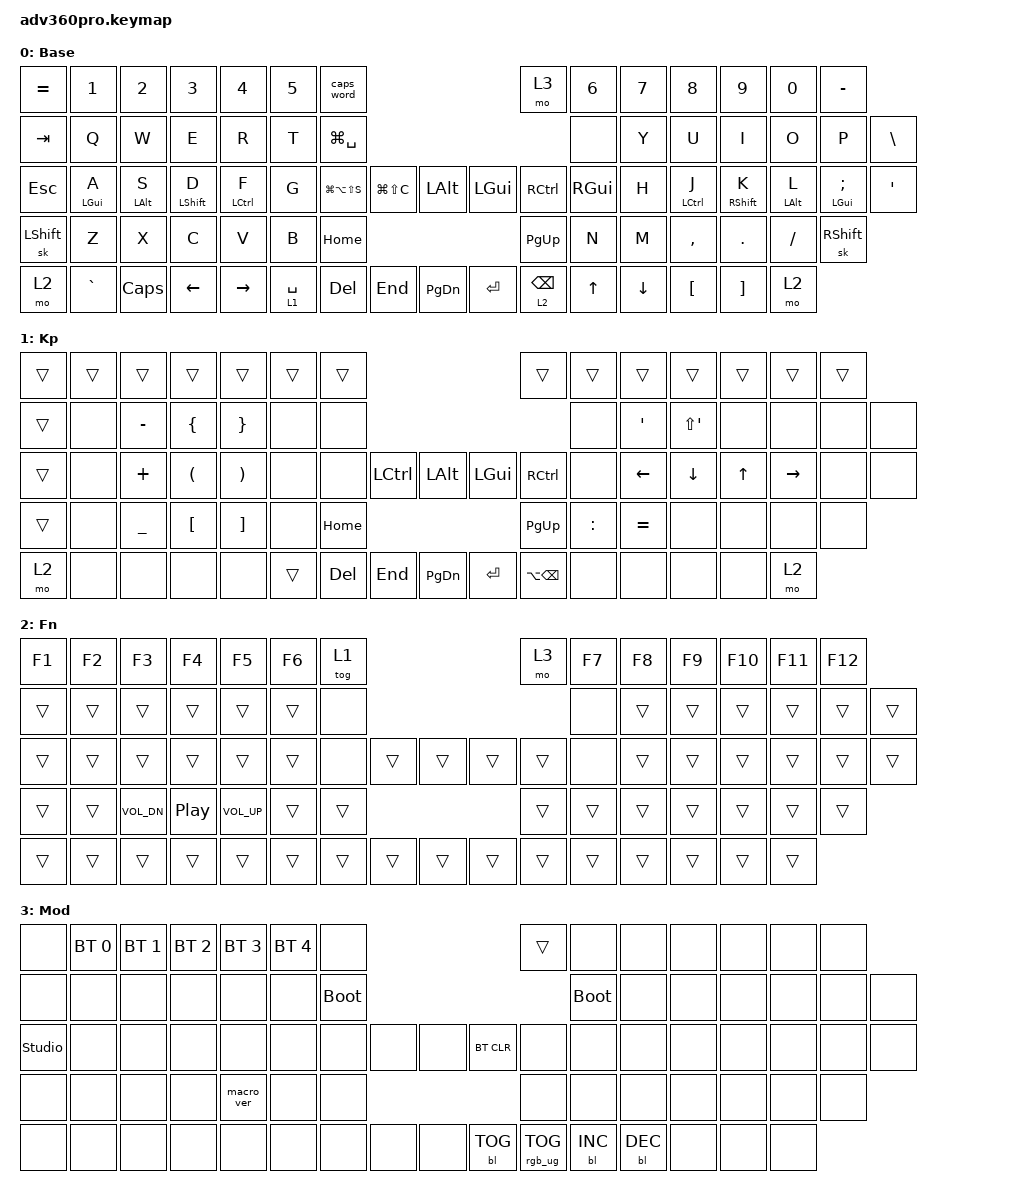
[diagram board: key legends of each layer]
#include <behaviors.dtsi>
#include <dt-bindings/zmk/keys.h>
#include <dt-bindings/zmk/bt.h>
#include <dt-bindings/zmk/rgb.h>
#include <dt-bindings/zmk/backlight.h>
#include <dt-bindings/zmk/pointing.h>

/* Key positions (see assets/key-positions.md), used for positional hold-tap. */
#define KEYS_L  0  1  2  3  4  5  6 \
               14 15 16 17 18 19 20 \
               28 29 30 31 32 33 34 \
               46 47 48 49 50 51    \
               60 61 62 63 64

#define KEYS_R  7  8  9 10 11 12 13 \
               21 22 23 24 25 26 27 \
               39 40 41 42 43 44 45 \
                  54 55 56 57 58 59 \
                     71 72 73 74 75

#define THUMBS 35 36 52 65 66 67 \
               37 38 53 68 69 70

/*
 * Global defaults for ZMK's built-in layer-tap (&lt) and mod-tap (&mt)
 * behaviors, copied from the TOTEM keyboard config.
 */
&lt {
  flavor = "balanced";
  tapping-term-ms = <200>;
  quick-tap-ms = <140>;
};

// Trigger tap-action on all interrupts.
&mt {
  flavor = "tap-preferred";
  tapping-term-ms = <220>;
  quick-tap-ms = <220>;
  hold-trigger-key-positions = <0>;
};

/*
 * Sticky keys (&sk), also from the TOTEM config: a tapped sticky Shift applies
 * to the next key only, and is dropped if no key follows within 900 ms.
 */
&sk {
  release-after-ms = <900>;
  quick-release;
};

/ {
    behaviors {
      #include "macros.dtsi"
      #include "version.dtsi"

      /*
       * Timeless homerow mods, following urob's zmk-config:
       * https://github.com/urob/zmk-config#timeless-homerow-mods
       *
       * - "balanced" flavor: a hold is produced as soon as another key is
       *   pressed and released within the tapping term;
       * - require-prior-idle-ms: pressing an HRM shortly after another key
       *   resolves it as a tap right away, so normal typing is not delayed;
       * - hold-trigger-key-positions: an HRM only becomes a modifier when the
       *   next key is on the other hand (or a thumb key);
       * - hold-trigger-on-release: the positional check happens on release so
       *   several modifiers on the same hand can be combined.
       */
      hml: homerow_mods_left {
          compatible = "zmk,behavior-hold-tap";
          #binding-cells = <2>;
          flavor = "balanced";
          tapping-term-ms = <280>;
          quick-tap-ms = <175>;
          require-prior-idle-ms = <150>;
          bindings = <&kp>, <&kp>;
          hold-trigger-key-positions = <KEYS_R THUMBS>;
          hold-trigger-on-release;
      };

      hmr: homerow_mods_right {
          compatible = "zmk,behavior-hold-tap";
          #binding-cells = <2>;
          flavor = "balanced";
          tapping-term-ms = <280>;
          quick-tap-ms = <175>;
          require-prior-idle-ms = <150>;
          bindings = <&kp>, <&kp>;
          hold-trigger-key-positions = <KEYS_L THUMBS>;
          hold-trigger-on-release;
      };
    };

  /*
   * Combos, following the TOTEM config: short timeout so they only fire when
   * both keys go down together, and require-prior-idle-ms so rolling "jk" or
   * "kl" while typing does not trigger them. Key positions: J=41 K=42 L=43.
   */
  combos {
    compatible = "zmk,combos";

    // J + K -> Cmd+Shift+[ (previous tab on macOS)
    combo_prev_tab {
      timeout-ms = <18>;
      require-prior-idle-ms = <150>;
      key-positions = <41 42>;
      bindings = <&kp LG(LS(LBKT))>;
      layers = <0>;
    };

    // K + L -> Cmd+Shift+] (next tab on macOS)
    combo_next_tab {
      timeout-ms = <18>;
      require-prior-idle-ms = <150>;
      key-positions = <42 43>;
      bindings = <&kp LG(LS(RBKT))>;
      layers = <0>;
    };
  };

  keymap {
    compatible = "zmk,keymap";

    default_layer {
      display-name = "Base";
      bindings = <
        &kp EQUAL &kp N1      &kp N2      &kp N3       &kp N4       &kp N5 &caps_word                                                             &mo 3 &kp N6 &kp N7       &kp N8       &kp N9      &kp N0         &kp MINUS
        &kp TAB   &kp Q       &kp W       &kp E        &kp R        &kp T  &kp LG(SPACE)                                                              &none &kp Y  &kp U        &kp I        &kp O       &kp P          &kp BSLH
        &kp ESC   &hml LGUI A &hml LALT S &hml LSHFT D &hml LCTRL F &kp G  &kp LG(LA(LS(S)))           &kp LG(LS(C)) &kp LALT &kp LGUI  &kp RCTRL             &kp RGUI &kp H  &hmr LCTRL J &hmr RSHFT K &hmr LALT L &hmr LGUI SEMI &kp SQT
        &sk LSHFT &kp Z       &kp X       &kp C        &kp V        &kp B                            &kp HOME &kp PG_UP                             &kp N  &kp M        &kp COMMA    &kp DOT     &kp FSLH       &sk RSHFT
        &mo 2     &kp GRAVE   &kp CAPS    &kp LEFT     &kp RIGHT                  &lt 1 SPACE &kp DEL &kp END &kp PG_DN &kp ENTER &lt 2 BSPC               &kp UP       &kp DOWN     &kp LBKT    &kp RBKT       &mo 2
      >;
    };
    keypad {
      display-name = "Kp";
      bindings = <
        &trans    &trans      &trans      &trans       &trans       &trans &trans                                                             &trans &trans  &trans      &trans       &trans         &trans          &trans
        &trans    &none         &kp MINUS &kp LEFT_BRACE       &kp RIGHT_BRACE       &none           &none                                                              &none &kp SQT   &kp LS(SQT)    &none        &none         &none           &none
        &trans    &none         &kp PLUS  &kp LEFT_PARENTHESIS &kp RIGHT_PARENTHESIS &none           &none           &kp LCTRL &kp LALT &kp LGUI  &kp RCTRL             &none &kp LEFT  &kp DOWN_ARROW &kp UP_ARROW &kp RIGHT     &none           &none
        &trans    &none         &kp UNDER &kp LEFT_BRACKET     &kp RIGHT_BRACKET     &none                            &kp HOME &kp PG_UP                             &kp COLON &kp EQUAL      &none        &none         &none           &none
        &mo 2     &none       &none       &none        &none                      &trans   &kp DEL   &kp END  &kp PG_DN &kp ENTER &kp LA(BSPC)             &none      &none        &none         &none           &mo 2
      >;
    };
    fn {
      display-name = "Fn";
      bindings = <
        &kp F1 &kp F2 &kp F3 &kp F4 &kp F5 &kp F6 &tog 1                                           &mo 3 &kp F7 &kp F8 &kp F9 &kp F10 &kp F11 &kp F12
        &trans &trans &trans &trans &trans &trans  &none                                           &none &trans &trans &trans &trans  &trans  &trans
        &trans &trans &trans &trans &trans &trans  &none        &trans &trans &trans &trans        &none &trans &trans &trans &trans  &trans  &trans
        &trans &trans &kp C_VOL_DN &kp C_PP &kp C_VOL_UP &trans        &trans &trans                     &trans &trans &trans &trans  &trans  &trans
        &trans &trans &trans &trans &trans               &trans &trans &trans &trans &trans &trans              &trans &trans &trans  &trans  &trans
      >;
    };
    mod {
      display-name = "Mod";
      bindings = <
        &none          &bt BT_SEL 0 &bt BT_SEL 1 &bt BT_SEL 2 &bt BT_SEL 3 &bt BT_SEL 4 &none                                                                     &trans      &none      &none      &none &none &none &none
        &none          &none        &none        &none        &none        &none        &bootloader                                                               &bootloader &none      &none      &none &none &none &none
        &studio_unlock &none        &none        &none        &none        &none        &none                   &none &none &bt BT_CLR &none                      &none       &none      &none      &none &none &none &none
        &none          &none        &none        &none        &macro_ver   &none                                      &none &none                                             &none      &none      &none &none &none &none
        &none          &none        &none        &none        &none                                       &none &none &none &none      &bl BL_TOG &rgb_ug RGB_TOG                   &bl BL_INC &bl BL_DEC &none &none &none
      >;
    };
    extra1 {
      display-name = "Red";
      status = "reserved";
    };

    extra2 {
      display-name = "Purple";
      status = "reserved";
    };

    extra3 {
      display-name = "Cyan";
      status = "reserved";
    };

    extra4 {
      display-name = "Yellow";
      status = "reserved";
    };
  };
};
